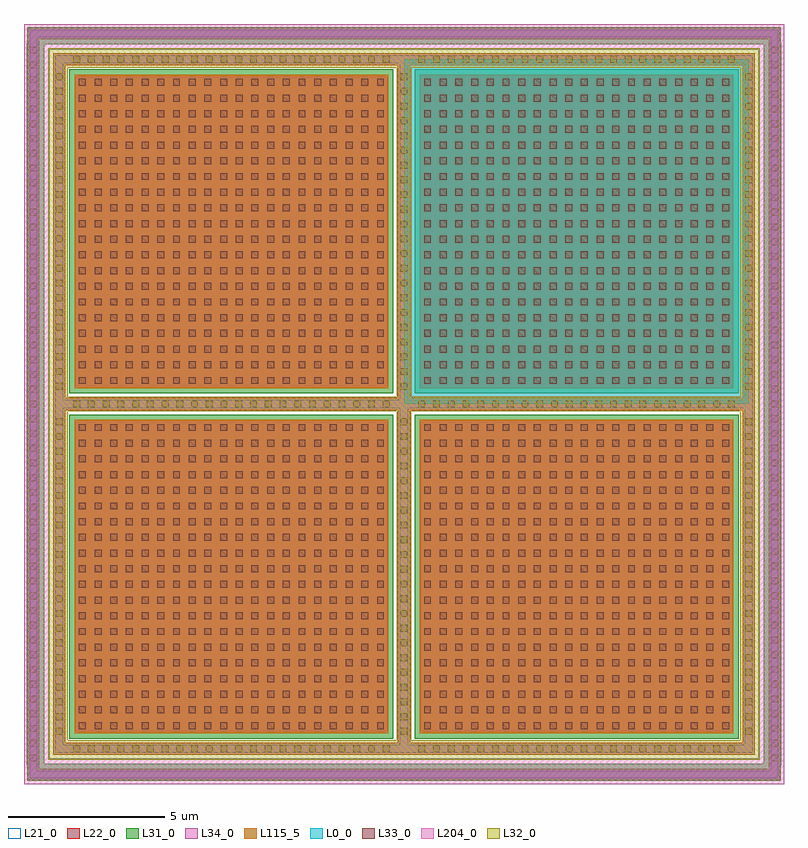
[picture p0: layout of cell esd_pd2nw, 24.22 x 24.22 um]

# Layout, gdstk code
import gdstk
lib = gdstk.Library(unit=1e-6, precision=1e-09)
def R(c, l, rs):  # rectangles x0, y0, x1, y1
    for r in rs: c.add(gdstk.rectangle(r[:2], r[2:], *l))
def A(c, l, x, y, w, h, nx, ny, dx, dy):  # array of equal rectangles
    R(c, l, [(x+i*dx, y+j*dy, x+i*dx+w, y+j*dy+h) for i in range(nx) for j in range(ny)])
L0_0 = (0, 0)
L21_0 = (21, 0)
L22_0 = (22, 0)
L31_0 = (31, 0)
L32_0 = (32, 0)
L33_0 = (33, 0)
L34_0 = (34, 0)
L115_5 = (115, 5)
L204_0 = (204, 0)

esd_pd2nw = lib.new_cell('esd_pd2nw')
R(esd_pd2nw, L0_0, [(0.01,0.01,10.99,10.99)])
R(esd_pd2nw, L21_0, [(-11.3,-11.3,11.3,11.3)])
R(esd_pd2nw, L22_0, [(-11.99,-11.99,11.99,-11.63), (-11.99,-11.63,-11.63,11.63), (11.63,-11.63,11.99,11.63), (-11.18,-11.18,11.18,-10.8), (-11.18,-10.8,-10.8,-0.2), (-0.2,-10.8,0.2,-0.2), (10.8,-10.8,11.18,-0.2), (-10.5,-10.5,-0.5,-0.5), (0.5,-10.5,10.5,-0.5), (-11.18,-0.2,11.18,0.2), (-11.18,0.2,-10.8,10.8), (-0.2,0.2,0.2,10.8), (10.8,0.2,11.18,10.8), (-10.5,0.5,-0.5,10.5), (0.5,0.5,10.5,10.5), (-11.18,10.8,11.18,11.18), (-11.99,11.63,11.99,11.99)])
R(esd_pd2nw, L31_0, [(-12.01,-12.01,12.01,-11.505), (-12.02,-11.505,12.02,-11.47), (-12.02,-11.47,-11.47,11.47), (11.47,-11.47,12.02,11.47), (-10.66,-10.66,-0.34,-0.34), (0.34,-10.66,10.66,-0.34), (-10.66,0.34,-0.34,10.66), (0.34,0.34,10.66,10.66), (-12.02,11.47,12.02,11.505), (-12.01,11.505,12.01,12.01)])
R(esd_pd2nw, L32_0, [(-11.34,-11.34,11.34,-10.71), (-11.34,-10.71,-10.71,-0.23), (-0.23,-10.71,0.23,-0.23), (10.71,-10.71,11.34,-0.23), (-11.34,-0.23,11.34,0.23), (-11.34,0.23,-10.71,10.71), (-0.23,0.23,0.23,10.71), (10.71,0.23,11.34,10.71), (-11.34,10.71,11.34,11.34)])
A(esd_pd2nw, L33_0, -11.92, -11.39, 0.22, 0.22, 1, 49, 0, 0.47)
A(esd_pd2nw, L33_0, 11.7, -11.39, 0.22, 0.22, 1, 49, 0, 0.47)
A(esd_pd2nw, L33_0, -10.545, -11.1, 0.22, 0.22, 22, 3, 0.47, 10.99)
A(esd_pd2nw, L33_0, 0.455, -11.1, 0.22, 0.22, 22, 3, 0.47, 10.99)
A(esd_pd2nw, L33_0, -11.1, -10.545, 0.22, 0.22, 3, 22, 10.99, 0.47)
A(esd_pd2nw, L33_0, -10.36, -10.36, 0.22, 0.22, 20, 20, 0.5, 0.5)
A(esd_pd2nw, L33_0, 0.64, -10.36, 0.22, 0.22, 20, 20, 0.5, 0.5)
A(esd_pd2nw, L33_0, -11.1, 0.455, 0.22, 0.22, 3, 22, 10.99, 0.47)
A(esd_pd2nw, L33_0, -10.36, 0.64, 0.22, 0.22, 20, 20, 0.5, 0.5)
A(esd_pd2nw, L33_0, 0.64, 0.64, 0.22, 0.22, 20, 20, 0.5, 0.5)
R(esd_pd2nw, L34_0, [(-11.925,-11.925,11.925,-11.695), (-11.925,-11.695,-11.695,11.695), (11.695,-11.695,11.925,11.695), (-11.115,-11.115,11.115,-10.865), (-11.115,-10.865,-10.865,-0.135), (-0.135,-10.865,0.135,-0.135), (10.865,-10.865,11.115,-0.135), (-10.49,-10.435,-0.51,-0.565), (0.51,-10.435,10.49,-0.565), (-11.115,-0.135,11.115,0.135), (-11.115,0.135,-10.865,10.865), (-0.135,0.135,0.135,10.865), (10.865,0.135,11.115,10.865), (-10.49,0.565,-0.51,10.435), (0.51,0.565,10.49,10.435), (-11.115,10.865,11.115,11.115), (-11.925,11.695,11.925,11.925)])
R(esd_pd2nw, L115_5, [(-10.5,-10.5,-0.5,-0.5), (0.5,-10.5,10.5,-0.5), (-10.5,0.5,-0.5,10.5), (0.5,0.5,10.5,10.5)])
R(esd_pd2nw, L204_0, [(-12.11,-12.11,12.11,-11.3), (-12.11,-11.3,-11.3,11.3), (11.3,-11.3,12.11,11.3), (-12.11,11.3,12.11,12.11)])

lib.write_gds('esd_pd2nw.gds')
